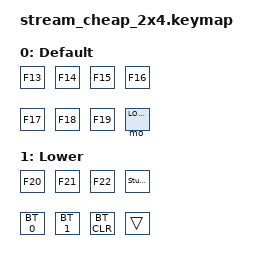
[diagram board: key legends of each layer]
/*
 * Copyright (c) 2021 Luigi311
 *
 * SPDX-License-Identifier: MIT
 */

#include <behaviors.dtsi>
#include <dt-bindings/zmk/keys.h>
#include <dt-bindings/zmk/bt.h>

#define DEFAULT 0
#define LOWER   1

/ {
	combos {
		compatible = "zmk,combos";
		combo_bootloader {
			timeout-ms = <100>;
			key-positions = <2 3 6 7>;
			bindings = <&bootloader>;
		};
		combo_reboot {
			timeout-ms = <100>;
			key-positions = <0 1 4 5>;
			bindings = <&sys_reset>;
		};
	};
};

/ {
	keymap0: keymap {
		compatible = "zmk,keymap";

		default_layer {
			display-name = "Default";
			bindings = <
				&kp F13 &kp F14 &kp F15 &kp F16
				&kp F17 &kp F18 &kp F19 &mo LOWER
				>;
		};

		lower_layer {
			display-name = "Lower";
			bindings = <
				&kp F20 &kp F21 &kp F22 &studio_unlock
				&bt BT_SEL 0 &bt BT_SEL 1 &bt BT_CLR &trans
				>;
		};
	};
};
